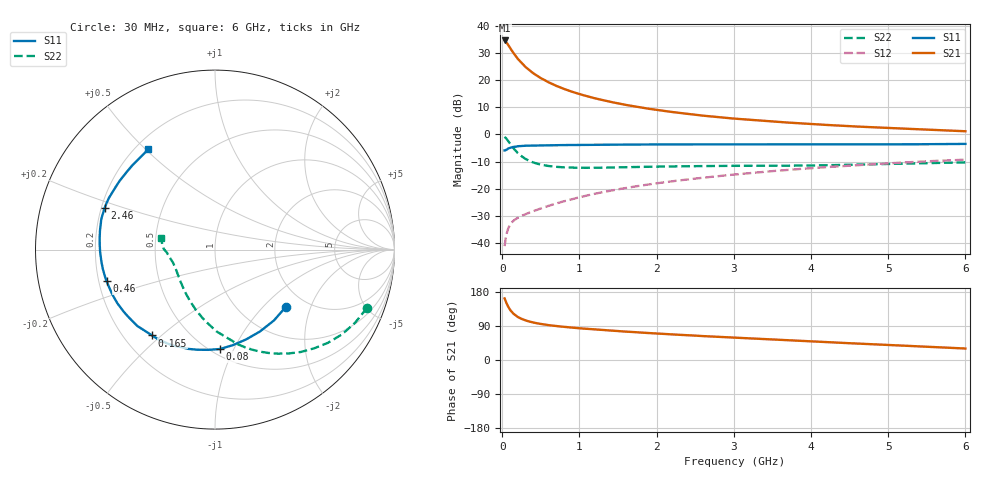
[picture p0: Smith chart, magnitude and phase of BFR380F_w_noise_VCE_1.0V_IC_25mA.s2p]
! Infineon Technologies  Discrete & RF Semiconductors
! BFR380F
! VCE =  1.0 V,  IC =  25 mA
! Common Emitter S-Parameters:  Nov 2015
# GHz  S  MA  R  50
!  f  S11  S21  S12  S22
! GHz  MAG  ANG  MAG  ANG  MAG  ANG  MAG  ANG
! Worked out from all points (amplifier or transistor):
!   206 points, 30 MHz to 6 GHz, reference 50 ohm
!   highest |S21| = 34.7 dB at 30 MHz (marker M1)
!   |S21| within 3 dB of that: start of sweep to 106.7 MHz
!   unconditionally stable (mu >= 1): 1.045 GHz to end of sweep
!   at 200 MHz: K = 0.46, MSG = 29.3 dB, |S12| = -30.8 dB
!   at 1.56 GHz: K = 1.05, MAG = 14.2 dB, |S12| = -19.9 dB
!   at 6 GHz: K = 1.01, MAG = 4.8 dB, |S12| = -9.3 dB
!   lowest NFmin = 1.13 dB at 900 MHz
!   S11 on the Smith chart (normalised r, x): 30 MHz: 1.59, -1.36; 80 MHz: 0.55, -0.88; 165 MHz: 0.32, -0.47; 460 MHz: 0.23, -0.14; 2.46 GHz: 0.21, +0.17; 6 GHz: 0.25, +0.51
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0.03  0.5075 -38.9  54.27 162.5  0.0087 76.9  0.9072 -21.0
0.05  0.5205 -61.2  50.81 151.8  0.0137 69.7  0.8503 -33.8
0.07  0.5419 -79.6  46.28 143.0  0.0173 62.9  0.7793 -44.9
0.08  0.5546 -87.2  44.1 139.5  0.019 60.4  0.7445 -50.0
0.1  0.5664 -99.9  39.73 132.9  0.0215 56.4  0.6779 -58.8
0.12  0.5759 -109.9  35.89 127.6  0.0235 53.5  0.619 -66.5
0.15  0.5917 -122.1  31.08 121.1  0.026 50.7  0.5455 -76.1
0.165  0.5929 -126.2  29.19 119.2  0.0269 50.1  0.5162 -79.5
0.2  0.6071 -135.5  24.94 113.5  0.029 48.7  0.4562 -88.9
0.26  0.615 -145.7  20.12 107.7  0.032 48.7  0.3875 -100.3
0.34  0.623 -155.1  15.78 102.1  0.0357 50.3  0.3314 -112.5
0.46  0.629 -163.7  11.87 96.5  0.0414 53.6  0.2868 -126.0
0.6  0.6343 -170.3  9.164 92.0  0.0483 56.9  0.2621 -137.2
0.7  0.6365 -173.6  7.886 89.6  0.0534 58.9  0.2531 -143.1
1.04  0.6423 178.2  5.358 83.1  0.0717 63.3  0.2431 -156.1
1.4  0.648 172.0  3.997 77.6  0.0918 65.4  0.246 -163.6
2.02  0.6561 164.2  2.816 69.7  0.1268 66.1  0.2551 -169.5
2.46  0.6572 159.4  2.344 64.7  0.1515 65.6  0.2601 -172.1
3.1  0.6565 153.2  1.917 58.1  0.1879 64.0  0.2641 -174.3
4.1  0.6546 143.0  1.529 48.0  0.2445 60.0  0.2688 -176.5
5.1  0.6578 133.5  1.301 38.8  0.2986 55.3  0.2882 178.0
6  0.6706 123.6  1.147 30.3  0.343 49.8  0.3059 167.8
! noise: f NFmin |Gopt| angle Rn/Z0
0.45  1.16  0.25  179  0.08
0.9  1.13  0.3  177  0.07
1.8  1.34  0.38  -171  0.08
1.9  1.42  0.39  -171  0.08
2.4  1.5  0.41  -161  0.09
3.5  2.08  0.49  -150  0.13
